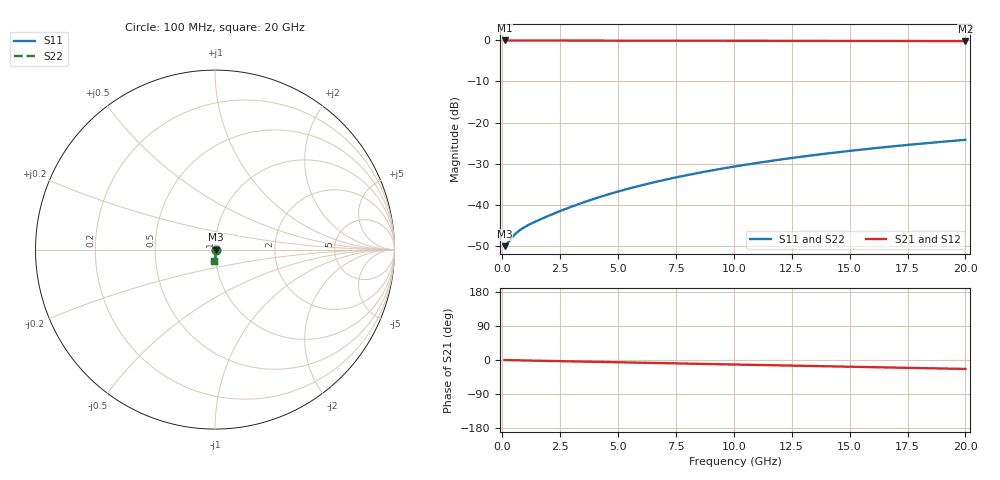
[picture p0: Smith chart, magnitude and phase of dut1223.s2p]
! Touchstone file exported from HFSS 2026.1.0
!  File:  C:/ffzhzh/LocalFiles/Ansys_Project_Files/temp_train_TMRDL_1223_1783163363_18472.aedt
!  Generated:  07:10:25 PM Jul  4, 2026
!  Design:  TMRDL
!  Project:  temp_train_TMRDL_1223_1783163363_18472
! Variables:
!  h_bsmrdl = 2um
!  h_ox = 20um
!  h_rdl = 5um
!  h_sub = 80um
!  h_tmrdl = 2.82um
!  h_tsv = 80um
!  h_via = 3um
!  l_bsmrdl = 300um
!  l_sub = 811.87um
!  l_tmrdl = 411.87um
!  m_sub = 200um
!  pitch = 20.12um
!  r_tsv = 6um
!  s_tmrdl = 10um
!  w_bsmrdl = 18um
!  w_sub = 500um
!  w_tmrdl = 17.98um
!  x_tsv_center1 = 420.86um
!  x_tsv_center2 = 738.86um
!  x_tsv_center3 = 1168.71um
!  x_tsv_center4 = 1486.71um
!  x_tsv_center5 = 1916.56um
!  x_tsv_center6 = 2234.56um
# GHz S MA R 50.000000
! Terminal data exported
! Port[1] = TM_RDL1_1_T1
! Port[2] = TM_RDL1_1_T2
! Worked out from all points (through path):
!   200 points, 100 MHz to 20 GHz, reference 50 ohm
!   highest |S21| = -0.03 dB at 100 MHz (marker M1); lowest = -0.2 dB at 20 GHz (marker M2)
!   group delay of S21, straight-line fit = 3.26 ps
!   lowest |S11| = -50.1 dB at 100 MHz (marker M3), VSWR 1.01, Z = 50.3 + j0.0224 ohm
!   |S11| at or under -10 dB: start of sweep to end of sweep
!   |S22| runs from -50.1 to -24.2 dB; largest |S21 - S12| = 2.3e-15
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0.1  0.003134 4.1  0.9969 -0.1  0.9969 -0.1  0.003134 4.1
! Gamma 0 0 0 0
! Port Impedance 50 0 50 0
0.2  0.003346 6.6  0.9967 -0.3  0.9967 -0.3  0.003346 6.6
0.4  0.003939 6.0  0.9961 -0.6  0.9961 -0.6  0.003939 6.0
0.6  0.004513 1.1  0.9955 -0.8  0.9955 -0.8  0.004512 1.1
0.8  0.004998 -5.0  0.995 -1.1  0.995 -1.1  0.004997 -5.1
1  0.005418 -11.1  0.9946 -1.3  0.9946 -1.3  0.005416 -11.1
1.4  0.006182 -21.9  0.9942 -1.8  0.9942 -1.8  0.00618 -21.9
2.1  0.007542 -36.0  0.9937 -2.6  0.9937 -2.6  0.007539 -36.0
2.8  0.009042 -45.9  0.9933 -3.4  0.9933 -3.4  0.009037 -45.9
3.5  0.01067 -53.0  0.9929 -4.3  0.9929 -4.3  0.01067 -53.0
4.3  0.01266 -59.0  0.9925 -5.2  0.9925 -5.2  0.01265 -59.0
5.1  0.01475 -63.6  0.992 -6.2  0.992 -6.2  0.01474 -63.6
5.9  0.01693 -67.2  0.9914 -7.2  0.9914 -7.2  0.01692 -67.2
6.8  0.01947 -70.5  0.9908 -8.2  0.9908 -8.2  0.01946 -70.6
8.4  0.02418 -75.2  0.9895 -10.1  0.9895 -10.1  0.02416 -75.3
10.1  0.0294 -79.3  0.9881 -12.1  0.9881 -12.1  0.02938 -79.3
11.7  0.03447 -82.6  0.9868 -14.0  0.9868 -14.0  0.03444 -82.7
13.4  0.03997 -85.9  0.9853 -16.0  0.9853 -16.0  0.03993 -85.9
15  0.0452 -88.7  0.984 -17.8  0.984 -17.8  0.04516 -88.8
16.7  0.0508 -91.6  0.9826 -19.8  0.9826 -19.8  0.05074 -91.7
18.3  0.05606 -94.2  0.9813 -21.6  0.9813 -21.6  0.056 -94.3
20  0.06162 -96.9  0.9799 -23.6  0.9799 -23.6  0.06156 -97.0
